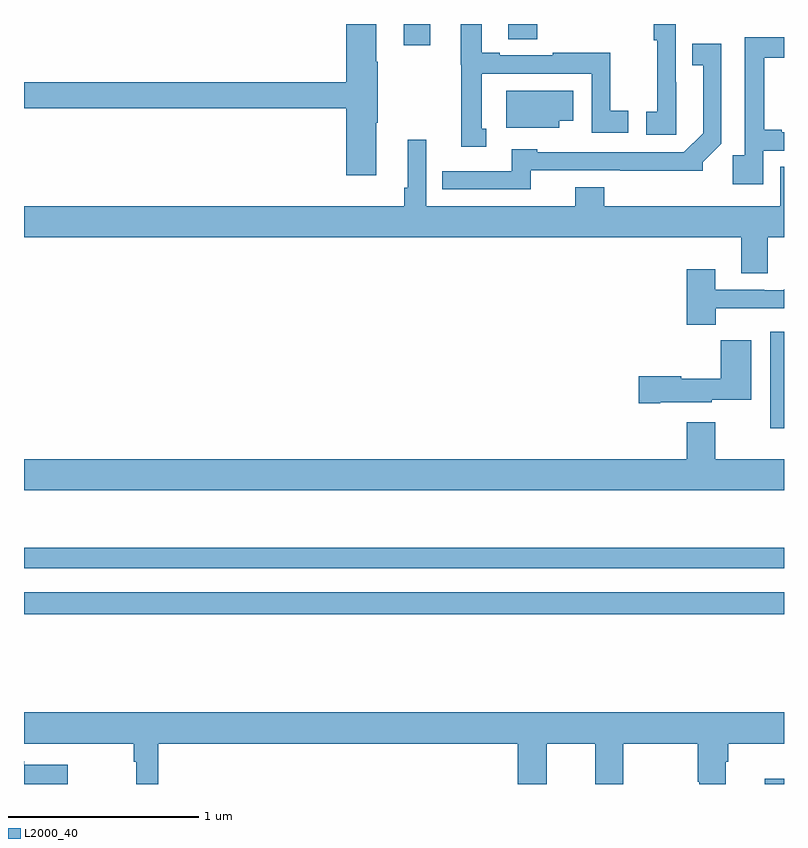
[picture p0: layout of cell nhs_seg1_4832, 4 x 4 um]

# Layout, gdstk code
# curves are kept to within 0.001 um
import gdstk
lib = gdstk.Library(unit=1e-6, precision=1e-09)
def R(c, l, rs):  # rectangles x0, y0, x1, y1
    for r in rs: c.add(gdstk.rectangle(r[:2], r[2:], *l))
def P(c, l, *ps):  # polygons
    for p in ps: c.add(gdstk.Polygon(p, *l))
L2000_40 = (2000, 40)

nhs_seg1_4832 = lib.new_cell('nhs_seg1_4832')
R(nhs_seg1_4832, L2000_40, [(376.898,538.199,377,538.226), (373,539.092,377,539.208), (373,539.334,377,539.443), (376.928,540.072,377,540.58), (374.999,542.088,375.139,542.199), (375.548,542.119,375.701,542.199)])
P(nhs_seg1_4832, L2000_40, [(376.432,541.892),(376.431,541.892),(376.431,542.199),(376.315,542.199),(376.315,542.113),(376.333,542.113),(376.333,541.737),(376.275,541.737),(376.275,541.617),(376.432,541.617)],
  [(374.854,541.679),(374.862,541.679),(374.862,542),(374.854,542),(374.854,542.199),(374.696,542.199),(374.696,541.892),(373,541.892),(373,541.756),(374.696,541.756),(374.696,541.404),(374.854,541.404)],
  [(375.433,541.647),(375.409,541.647),(375.409,541.938),(375.987,541.938),(375.987,541.626),(376.18,541.626),(376.18,541.742),(376.086,541.742),(376.086,542.047),(375.784,542.047),(375.784,542.034),(375.505,542.034),(375.505,542.047),(375.409,542.047),(375.409,542.199),(375.299,542.199),(375.299,541.985),(375.3,541.985),(375.3,541.553),(375.433,541.553)],
  [(376.89,541.533),(377,541.533),(377,541.629),(376.987,541.629),(376.987,541.642),(376.895,541.642),(376.895,542.022),(377,542.022),(377,542.13),(376.794,542.13),(376.794,541.507),(376.729,541.507),(376.729,541.356),(376.89,541.356)],
  [(375.666,541.428),(376.572,541.427),(376.572,541.471),(376.671,541.57),(376.671,542.095),(376.516,542.095),(376.516,541.982),(376.574,541.982),(376.574,541.625),(376.473,541.524),(375.702,541.524),(375.702,541.54),(375.566,541.54),(375.566,541.425),(375.202,541.425),(375.202,541.329),(375.666,541.329)],
  [(375.817,541.691),(375.892,541.691),(375.892,541.849),(375.539,541.849),(375.539,541.652),(375.817,541.652)],
  [(376.915,541.076),(377,541.076),(377,541.448),(376.979,541.448),(376.979,541.24),(376.055,541.24),(376.055,541.339),(375.902,541.339),(375.902,541.24),(375.117,541.24),(375.117,541.591),(375.02,541.591),(375.02,541.336),(375.001,541.336),(375.001,541.24),(373,541.24),(373,541.076),(376.775,541.076),(376.775,540.886),(376.915,540.886)],
  [(376.642,540.704),(377,540.704),(377,540.804),(376.994,540.798),(376.895,540.798),(376.895,540.801),(376.639,540.801),(376.639,540.907),(376.487,540.907),(376.487,540.617),(376.642,540.617)],
  [(376.348,540.209),(376.62,540.209),(376.62,540.221),(376.828,540.221),(376.828,540.535),(376.666,540.535),(376.666,540.331),(376.458,540.331),(376.458,540.344),(376.236,540.344),(376.236,540.202),(376.348,540.202)],
  [(377,539.908),(376.639,539.908),(376.639,540.103),(376.487,540.103),(376.487,539.908),(373,539.908),(373,539.744),(377,539.744)],
  [(373.706,538.412),(375.599,538.412),(375.599,538.199),(375.751,538.199),(375.751,538.412),(376.007,538.412),(376.007,538.199),(376.155,538.199),(376.155,538.412),(376.546,538.412),(376.546,538.21),(376.553,538.21),(376.553,538.199),(376.693,538.199),(376.693,538.316),(376.706,538.316),(376.706,538.412),(377,538.412),(377,538.576),(373,538.576),(373,538.412),(373.578,538.412),(373.578,538.316),(373.59,538.316),(373.59,538.199),(373.706,538.199)],
  [(373.231,538.3),(373.002,538.3),(373.002,538.318),(373,538.318),(373,538.199),(373.231,538.199)])

lib.write_gds('nhs_seg1_4832.gds')
